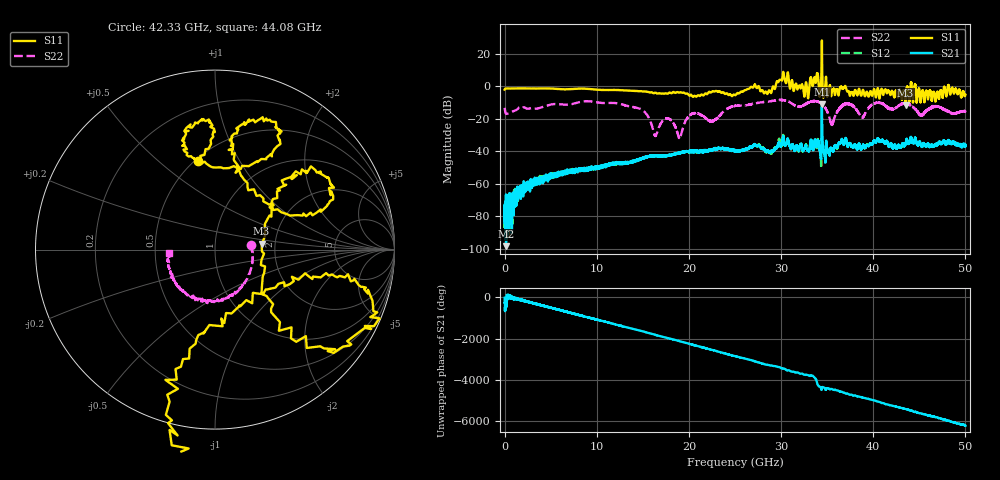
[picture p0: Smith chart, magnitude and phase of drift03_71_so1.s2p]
!Created with skrf (http://scikit-rf.org).
# Hz S RI R 50.0
!freq ReS11 ImS11 ReS21 ImS21 ReS12 ImS12 ReS22 ImS22
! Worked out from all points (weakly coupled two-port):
!   10000 points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, 5.3 MHz to 50 GHz, reference 50 ohm
!   highest |S21| = -10.96 dB at 34.43 GHz (marker M1); lowest = -98.3 dB at 160.3 MHz (marker M2)
!   lowest |S11| = -11.6 dB at 43.52 GHz (marker M3), VSWR 1.71, Z = 84.8 + j5.94 ohm
!   |S11| at or under -10 dB: 43.48479 GHz to 43.55215 GHz (67.35 MHz wide, 0.155 % of centre); 44.31395 GHz to 44.31562 GHz (1.664 MHz wide, 0.00376 % of centre); 44.70665 GHz to 44.71183 GHz (5.177 MHz wide, 0.0116 % of centre)
!   |S22| runs from -32.2 to -8.4 dB; largest |S21 - S12| = 0.086
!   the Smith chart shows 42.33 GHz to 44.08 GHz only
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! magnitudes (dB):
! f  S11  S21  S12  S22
! 5.3 MHz  -2.1  -83.8  -81.7  -13.3
! 160.3 MHz  -1.4  -98.3  -75.6  -16.9
! 2.335 GHz  -1.4  -63.1  -61.6  -13.6
! 8.34 GHz  -1.5  -51.2  -51.1  -9.5
! 14.59 GHz  -3.1  -45.0  -45.2  -13.6
! 16.67 GHz  -4.4  -42.7  -42.7  -26.4
! 17.78 GHz  -4.3  -42.4  -42.5  -20.0
! 19 GHz  -3.9  -40.8  -40.9  -32.2
! 20.3 GHz  -5.6  -40.0  -39.8  -17.1
! 22.56 GHz  -3.1  -39.7  -39.4  -21.4
! 25.01 GHz  -5.5  -39.4  -40.0  -12.1
! 30.14 GHz  4.4  -33.5  -34.1  -8.5
! 33.34 GHz  2.6  -34.7  -35.2  -9.3
! 34.43 GHz  28.1  -11.0  -13.1  -10.8
! 35.51 GHz  -3.8  -38.6  -38.6  -23.7
! 36.95 GHz  0.2  -33.2  -33.3  -10.8
! 38.78 GHz  -4.5  -37.7  -37.7  -19.2
! 40.17 GHz  -3.1  -33.8  -33.9  -10.4
! 41.67 GHz  -2.9  -37.1  -36.8  -13.3
! 43.52 GHz  -11.6  -35.2  -35.3  -10.7
! 45.19 GHz  -7.1  -36.2  -36.3  -17.5
! 50 GHz  -5.2  -36.8  -36.6  -15.5
